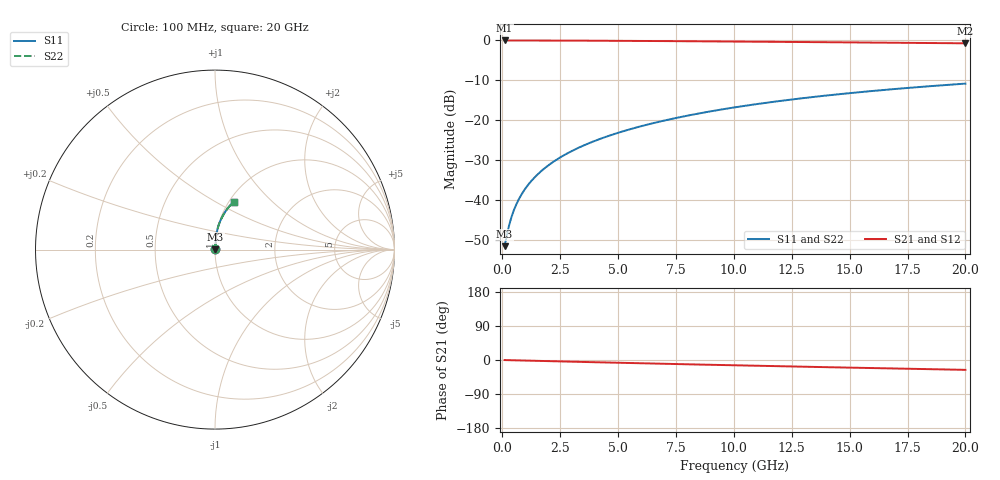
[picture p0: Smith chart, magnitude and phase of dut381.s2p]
! Touchstone file exported from HFSS 2024.1.0
!  File:  C:/UserFiles/LocalFiles/RDL_TSV_Batchsim/temp_RDL_bottom_381_1779613881.aedt
!  Generated:  05:14:26 PM May 24, 2026
!  Design:  RDL_bottom
!  Project:  temp_RDL_bottom_381_1779613881
!  Setup:  Setup1
!  Solution:  Sweep
! Variables:
!  dtsv = 10.80580581um
!  hbump = 3um
!  htsv = 95.04um
!  ldown = 313.54um
!  lrdl = 100um
!  p = 40
!  p1 = 53.27um
!  rhole = 1um
!  t = 450um
!  tdown = 2.79um
!  trdl = 3.915915916um
!  wdown = 20.45um
!  wrdl = 20um
# GHz S MA R 50.000000
! Terminal data exported
! Port[1] = RDL1_T1
! Port[2] = RDL1_T2
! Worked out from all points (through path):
!   200 points, 100 MHz to 20 GHz, reference 50 ohm
!   highest |S21| = -0.02 dB at 100 MHz (marker M1); lowest = -0.7 dB at 20 GHz (marker M2)
!   group delay of S21, straight-line fit = 3.59 ps
!   lowest |S11| = -51.6 dB at 100 MHz (marker M3), VSWR 1.01, Z = 50.2 + j0.146 ohm
!   |S11| at or under -10 dB: start of sweep to end of sweep
!   |S22| runs from -51.6 to -10.8 dB; largest |S21 - S12| = 3.4e-15
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0.1  0.00264 33.4  0.9978 -0.2  0.9978 -0.2  0.00264 33.4
! Gamma 0 0 0 0
! Port Impedance 50 0 50 0
0.2  0.003667 51.9  0.9977 -0.3  0.9977 -0.3  0.003667 51.9
0.3  0.004886 61.4  0.9976 -0.5  0.9976 -0.5  0.004886 61.4
0.4  0.006161 66.9  0.9975 -0.6  0.9975 -0.6  0.006161 66.9
0.5  0.007451 70.5  0.9974 -0.8  0.9974 -0.8  0.007451 70.5
0.6  0.008746 73.0  0.9973 -0.9  0.9973 -0.9  0.008746 73.0
0.8  0.01135 76.5  0.9971 -1.2  0.9971 -1.2  0.01135 76.5
1.1  0.01529 79.6  0.9968 -1.7  0.9968 -1.7  0.01529 79.6
1.3  0.01793 80.9  0.9965 -1.9  0.9965 -1.9  0.01793 80.9
1.6  0.02194 82.4  0.9961 -2.4  0.9961 -2.4  0.02194 82.4
2.1  0.02868 83.8  0.9953 -3.1  0.9953 -3.1  0.02868 83.8
2.7  0.0369 84.8  0.9941 -4.0  0.9941 -4.0  0.0369 84.8
3.5  0.04804 85.3  0.9921 -5.2  0.9921 -5.2  0.04804 85.3
4.2  0.05797 85.4  0.9901 -6.2  0.9901 -6.2  0.05797 85.4
5  0.0695 85.3  0.9875 -7.3  0.9875 -7.3  0.0695 85.3
5.9  0.08268 84.9  0.9843 -8.5  0.9843 -8.5  0.08268 84.9
6.8  0.09605 84.2  0.9808 -9.8  0.9808 -9.8  0.09605 84.2
8.4  0.1201 82.8  0.9742 -11.9  0.9742 -11.9  0.1201 82.8
10.1  0.1458 80.9  0.9667 -14.1  0.9667 -14.1  0.1458 80.9
13.4  0.195 76.9  0.9515 -18.2  0.9515 -18.2  0.195 76.9
16.7  0.2424 72.7  0.9356 -22.2  0.9356 -22.2  0.2424 72.7
20  0.2872 68.6  0.919 -26.0  0.919 -26.0  0.2872 68.6
